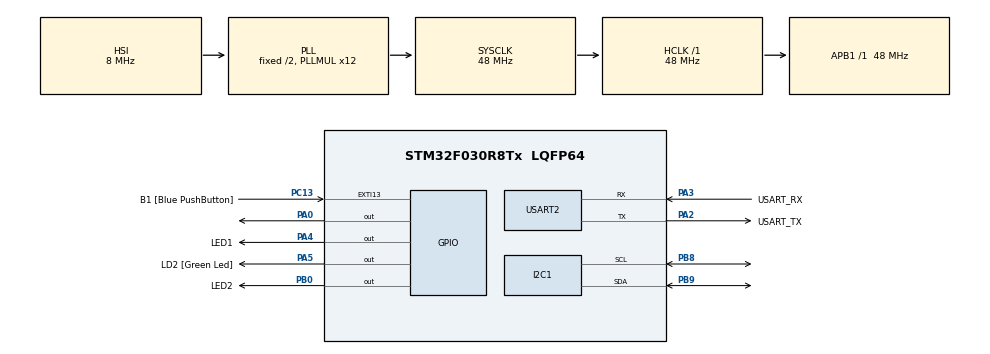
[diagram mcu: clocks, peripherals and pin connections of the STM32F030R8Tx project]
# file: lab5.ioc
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Dma.Request0=USART2_RX
Dma.USART2_RX.0.Direction=DMA_PERIPH_TO_MEMORY
Dma.USART2_RX.0.Instance=DMA1_Channel5
Dma.USART2_RX.0.MemDataAlignment=DMA_MDATAALIGN_BYTE
Dma.USART2_RX.0.MemInc=DMA_MINC_ENABLE
Dma.USART2_RX.0.Mode=DMA_CIRCULAR
Dma.USART2_RX.0.PeriphDataAlignment=DMA_PDATAALIGN_BYTE
Dma.USART2_RX.0.PeriphInc=DMA_PINC_DISABLE
Dma.USART2_RX.0.Priority=DMA_PRIORITY_LOW
Mcu.Family=STM32F0
Mcu.Name=STM32F030R8Tx
Mcu.Package=LQFP64
NVIC.DMA1_Channel4_5_IRQn=true\:0\:0\:false\:false\:true\:false\:true\:true
PA0.Signal=GPIO_Output
PA13.GPIO_Label=TMS
PA13.Mode=Serial_Wire
PA13.Signal=SYS_SWDIO
PA14.GPIO_Label=TCK
PA14.Mode=Serial_Wire
PA14.Signal=SYS_SWCLK
PA2.GPIO_Label=USART_TX
PA2.GPIO_Mode=GPIO_MODE_AF_PP
PA2.GPIO_PuPd=GPIO_NOPULL
PA2.GPIO_Speed=GPIO_SPEED_FREQ_LOW
PA2.Mode=Asynchronous
PA2.Signal=USART2_TX
PA3.GPIO_Label=USART_RX
PA3.GPIO_Mode=GPIO_MODE_AF_PP
PA3.GPIO_PuPd=GPIO_NOPULL
PA3.GPIO_Speed=GPIO_SPEED_FREQ_LOW
PA3.Mode=Asynchronous
PA3.Signal=USART2_RX
PA4.GPIO_Label=LED1
PA4.Signal=GPIO_Output
PA5.GPIO_Label=LD2 [Green Led]
PA5.GPIO_Mode=GPIO_MODE_OUTPUT_PP
PA5.GPIO_PuPd=GPIO_NOPULL
PA5.GPIO_Speed=GPIO_SPEED_FREQ_LOW
PA5.Signal=GPIO_Output
PB0.GPIO_Label=LED2
PB0.Signal=GPIO_Output
PB8.Mode=I2C
PB8.Signal=I2C1_SCL
PB9.Mode=I2C
PB9.Signal=I2C1_SDA
PC13.GPIO_Label=B1 [Blue PushButton]
PC13.GPIO_ModeDefaultEXTI=GPIO_MODE_IT_FALLING
PC13.Signal=GPXTI13
PC14-OSC32_IN.Mode=LSE-External-Oscillator
PC14-OSC32_IN.Signal=RCC_OSC32_IN
PC15-OSC32_OUT.Mode=LSE-External-Oscillator
PC15-OSC32_OUT.Signal=RCC_OSC32_OUT
PF0-OSC_IN.Mode=HSE-External-Clock-Source
PF0-OSC_IN.Signal=RCC_OSC_IN
PF1-OSC_OUT.Signal=RCC_OSC_OUT
ProjectManager.HeapSize=0x200
ProjectManager.StackSize=0x400
ProjectManager.TargetToolchain=STM32CubeIDE
RCC.AHBFreq_Value=48000000
RCC.APB1Freq_Value=48000000
RCC.APB1TimFreq_Value=48000000
RCC.HCLKFreq_Value=48000000
RCC.PLLMUL=RCC_PLL_MUL12
RCC.SYSCLKFreq_VALUE=48000000
RCC.SYSCLKSource=RCC_SYSCLKSOURCE_PLLCLK
USART2.VirtualMode-Asynchronous=VM_ASYNC
board=NUCLEO-F030R8

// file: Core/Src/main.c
/* USER CODE BEGIN Header */
/**
  ******************************************************************************
  * @file           : main.c
  * @brief          : Main program body
  ******************************************************************************
  * @attention
  *
  * Copyright (c) 2023 STMicroelectronics.
  * All rights reserved.
  *
  * This software is licensed under terms that can be found in the LICENSE file
  * in the root directory of this software component.
  * If no LICENSE file comes with this software, it is provided AS-IS.
  *
  ******************************************************************************
  */
/* USER CODE END Header */
#include "main.h"

/* USER CODE BEGIN Includes */
#include <stdio.h>
#include <string.h>
#include <stdlib.h>
/* USER CODE END Includes */

/* USER CODE BEGIN PD */
#define RX_BUFFER_LEN 64

#define uart_rx_write_ptr (RX_BUFFER_LEN - hdma_usart2_rx.Instance->CNDTR)
#define CMD_BUFFER_LEN 256
#define EEPROM_ADDR  0xA0
/* USER CODE END PD */

I2C_HandleTypeDef hi2c1;

UART_HandleTypeDef huart2;
DMA_HandleTypeDef hdma_usart2_rx;

/* USER CODE BEGIN PV */
static uint8_t uart_rx_buf[RX_BUFFER_LEN];
static volatile uint16_t uart_rx_read_ptr = 0;
/* USER CODE END PV */

void SystemClock_Config(void);
static void MX_GPIO_Init(void);
static void MX_DMA_Init(void);
static void MX_USART2_UART_Init(void);
static void MX_I2C1_Init(void);

/* USER CODE BEGIN 0 */
int _write(int file, char const *buf, int n)
{
	/* stdout redirection to UART2 */
	HAL_UART_Transmit(&huart2, (uint8_t*)(buf), n, HAL_MAX_DELAY);
	return n;
}

static void uart_process_command(char *cmd){
	printf("Byl zadan prikaz: '%s'\n", cmd);

	char *token;
	token = strtok(cmd, " ");
	if (strcasecmp(token, "HELLO") == 0) {
		printf("Komunikace OK\n");
	}
	else if (strcasecmp(token, "LED1") == 0) {
		token = strtok(NULL, " ");
		if (strcasecmp(token, "ON") == 0){
			HAL_GPIO_WritePin(LED1_GPIO_Port,LED1_Pin,1);
			printf("OK\n");
		}else if (strcasecmp(token, "OFF") == 0){
			HAL_GPIO_WritePin(LED1_GPIO_Port,LED1_Pin,0);
			printf("OK\n");
		}
	}
	else if (strcasecmp(token, "LED2") == 0) {
		token = strtok(NULL, " ");
		if (strcasecmp(token, "ON") == 0){
			HAL_GPIO_WritePin(LED2_GPIO_Port,LED2_Pin,1);
			printf("OK\n");
		}else if (strcasecmp(token, "OFF") == 0){
			HAL_GPIO_WritePin(LED2_GPIO_Port,LED2_Pin,0);
			printf("OK\n");
		}
	}
	else if (strcasecmp(token, "STATUS") == 0){
		uint8_t led1=HAL_GPIO_ReadPin(LED1_GPIO_Port,LED1_Pin);
		uint8_t led2=HAL_GPIO_ReadPin(LED2_GPIO_Port,LED2_Pin);
		printf("Stav led1: %d\n",led1);
		printf("Stav led2: %d\n",led2);
	}
	else if(strcasecmp(token, "READ") == 0){
		token = strtok(NULL, " ");
		uint16_t addr=atoi(token);
		uint8_t value;

		HAL_I2C_Mem_Read(&hi2c1, EEPROM_ADDR, addr, I2C_MEMADD_SIZE_16BIT, &value, 1, 1000);
		printf("Hodnota na adrese : 0x%02X je 0x%02X\n", addr, value);
	}
	else if(strcasecmp(token, "WRITE") == 0){
		token = strtok(NULL, " ");
		uint16_t addr=atoi(token);
		token = strtok(NULL, " ");
		uint8_t value=atoi(token);

		HAL_I2C_Mem_Write(&hi2c1, EEPROM_ADDR, addr, I2C_MEMADD_SIZE_16BIT, &value, 1, 1000);
		while (HAL_I2C_IsDeviceReady(&hi2c1, EEPROM_ADDR, 300, 1000) == HAL_TIMEOUT) {}
		HAL_I2C_Mem_Read(&hi2c1, EEPROM_ADDR, addr, I2C_MEMADD_SIZE_16BIT, &value, 1, 1000);
		printf("Hodnota na adrese : 0x%02X je 0x%02X\n", addr, value);

	}
	else if(strcasecmp(token, "DUMP") == 0){
		token = strtok(NULL, " ");
		uint8_t value = 0;
		for (uint8_t i = 0; i <= 0x000F; i++) {
			HAL_I2C_Mem_Read(&hi2c1, EEPROM_ADDR, i, I2C_MEMADD_SIZE_16BIT, &value, 1, 1000);
			printf("%02X ", value);
			if (i == (0x000F / 2)) printf("\n");
		}
		printf("\n");
	}
}

static void uart_byte_available(uint8_t c)
{
	static uint16_t cnt;
	static char data[CMD_BUFFER_LEN];
	if (cnt < CMD_BUFFER_LEN && c >= 32 && c <= 126) data[cnt++] = c;
	if ((c == '\n' || c == '\r') && cnt > 0) {
		data[cnt] = '\0';
		uart_process_command(data);
		cnt = 0;
	}
}
/* USER CODE END 0 */

int main(void)
{

  /* MCU Configuration--------------------------------------------------------*/

  /* Reset of all peripherals, Initializes the Flash interface and the Systick. */
  HAL_Init();

  /* Configure the system clock */
  SystemClock_Config();

  /* Initialize all configured peripherals */
  MX_GPIO_Init();
  MX_DMA_Init();
  MX_USART2_UART_Init();
  MX_I2C1_Init();
  /* USER CODE BEGIN 2 */
  HAL_UART_Receive_DMA(&huart2, uart_rx_buf, RX_BUFFER_LEN);
  /* USER CODE END 2 */

  /* Infinite loop */
  while (1)
  {

    /* USER CODE BEGIN 3 */
	while (uart_rx_read_ptr != uart_rx_write_ptr) {
	 uint8_t b = uart_rx_buf[uart_rx_read_ptr];
	 if (++uart_rx_read_ptr >= RX_BUFFER_LEN) uart_rx_read_ptr = 0; // increase read pointer
	 uart_byte_available(b); // process every received byte with the RX state machine
	}

  }
  /* USER CODE END 3 */
}

void SystemClock_Config(void)
{
  RCC_OscInitTypeDef RCC_OscInitStruct = {0};
  RCC_ClkInitTypeDef RCC_ClkInitStruct = {0};
  RCC_PeriphCLKInitTypeDef PeriphClkInit = {0};

  /** Initializes the RCC Oscillators according to the specified parameters
  * in the RCC_OscInitTypeDef structure.
  */
  RCC_OscInitStruct.OscillatorType = RCC_OSCILLATORTYPE_HSI;
  RCC_OscInitStruct.HSIState = RCC_HSI_ON;
  RCC_OscInitStruct.HSICalibrationValue = RCC_HSICALIBRATION_DEFAULT;
  RCC_OscInitStruct.PLL.PLLState = RCC_PLL_ON;
  RCC_OscInitStruct.PLL.PLLSource = RCC_PLLSOURCE_HSI;
  RCC_OscInitStruct.PLL.PLLMUL = RCC_PLL_MUL12;
  RCC_OscInitStruct.PLL.PREDIV = RCC_PREDIV_DIV1;
  if (HAL_RCC_OscConfig(&RCC_OscInitStruct) != HAL_OK)
  {
    Error_Handler();
  }

  /** Initializes the CPU, AHB and APB buses clocks
  */
  RCC_ClkInitStruct.ClockType = RCC_CLOCKTYPE_HCLK|RCC_CLOCKTYPE_SYSCLK
                              |RCC_CLOCKTYPE_PCLK1;
  RCC_ClkInitStruct.SYSCLKSource = RCC_SYSCLKSOURCE_PLLCLK;
  RCC_ClkInitStruct.AHBCLKDivider = RCC_SYSCLK_DIV1;
  RCC_ClkInitStruct.APB1CLKDivider = RCC_HCLK_DIV1;

  if (HAL_RCC_ClockConfig(&RCC_ClkInitStruct, FLASH_LATENCY_1) != HAL_OK)
  {
    Error_Handler();
  }
  PeriphClkInit.PeriphClockSelection = RCC_PERIPHCLK_I2C1;
  PeriphClkInit.I2c1ClockSelection = RCC_I2C1CLKSOURCE_HSI;
  if (HAL_RCCEx_PeriphCLKConfig(&PeriphClkInit) != HAL_OK)
  {
    Error_Handler();
  }
}

static void MX_I2C1_Init(void)
{

  hi2c1.Instance = I2C1;
  hi2c1.Init.Timing = 0x2000090E;
  hi2c1.Init.OwnAddress1 = 0;
  hi2c1.Init.AddressingMode = I2C_ADDRESSINGMODE_7BIT;
  hi2c1.Init.DualAddressMode = I2C_DUALADDRESS_DISABLE;
  hi2c1.Init.OwnAddress2 = 0;
  hi2c1.Init.OwnAddress2Masks = I2C_OA2_NOMASK;
  hi2c1.Init.GeneralCallMode = I2C_GENERALCALL_DISABLE;
  hi2c1.Init.NoStretchMode = I2C_NOSTRETCH_DISABLE;
  if (HAL_I2C_Init(&hi2c1) != HAL_OK)
  {
    Error_Handler();
  }

  /** Configure Analogue filter
  */
  if (HAL_I2CEx_ConfigAnalogFilter(&hi2c1, I2C_ANALOGFILTER_ENABLE) != HAL_OK)
  {
    Error_Handler();
  }

  /** Configure Digital filter
  */
  if (HAL_I2CEx_ConfigDigitalFilter(&hi2c1, 0) != HAL_OK)
  {
    Error_Handler();
  }

}

static void MX_USART2_UART_Init(void)
{

  huart2.Instance = USART2;
  huart2.Init.BaudRate = 38400;
  huart2.Init.WordLength = UART_WORDLENGTH_8B;
  huart2.Init.StopBits = UART_STOPBITS_1;
  huart2.Init.Parity = UART_PARITY_NONE;
  huart2.Init.Mode = UART_MODE_TX_RX;
  huart2.Init.HwFlowCtl = UART_HWCONTROL_NONE;
  huart2.Init.OverSampling = UART_OVERSAMPLING_16;
  huart2.Init.OneBitSampling = UART_ONE_BIT_SAMPLE_DISABLE;
  huart2.AdvancedInit.AdvFeatureInit = UART_ADVFEATURE_NO_INIT;
  if (HAL_UART_Init(&huart2) != HAL_OK)
  {
    Error_Handler();
  }

}

static void MX_DMA_Init(void)
{

  /* DMA controller clock enable */
  __HAL_RCC_DMA1_CLK_ENABLE();

  /* DMA interrupt init */
  /* DMA1_Channel4_5_IRQn interrupt configuration */
  HAL_NVIC_SetPriority(DMA1_Channel4_5_IRQn, 0, 0);
  HAL_NVIC_EnableIRQ(DMA1_Channel4_5_IRQn);

}

static void MX_GPIO_Init(void)
{
  GPIO_InitTypeDef GPIO_InitStruct = {0};

  /* GPIO Ports Clock Enable */
  __HAL_RCC_GPIOC_CLK_ENABLE();
  __HAL_RCC_GPIOF_CLK_ENABLE();
  __HAL_RCC_GPIOA_CLK_ENABLE();
  __HAL_RCC_GPIOB_CLK_ENABLE();

  /*Configure GPIO pin Output Level */
  HAL_GPIO_WritePin(GPIOA, GPIO_PIN_0|LED1_Pin|LD2_Pin, GPIO_PIN_RESET);

  /*Configure GPIO pin Output Level */
  HAL_GPIO_WritePin(LED2_GPIO_Port, LED2_Pin, GPIO_PIN_RESET);

  /*Configure GPIO pin : B1_Pin */
  GPIO_InitStruct.Pin = B1_Pin;
  GPIO_InitStruct.Mode = GPIO_MODE_IT_FALLING;
  GPIO_InitStruct.Pull = GPIO_NOPULL;
  HAL_GPIO_Init(B1_GPIO_Port, &GPIO_InitStruct);

  /*Configure GPIO pins : PA0 LED1_Pin LD2_Pin */
  GPIO_InitStruct.Pin = GPIO_PIN_0|LED1_Pin|LD2_Pin;
  GPIO_InitStruct.Mode = GPIO_MODE_OUTPUT_PP;
  GPIO_InitStruct.Pull = GPIO_NOPULL;
  GPIO_InitStruct.Speed = GPIO_SPEED_FREQ_LOW;
  HAL_GPIO_Init(GPIOA, &GPIO_InitStruct);

  /*Configure GPIO pin : LED2_Pin */
  GPIO_InitStruct.Pin = LED2_Pin;
  GPIO_InitStruct.Mode = GPIO_MODE_OUTPUT_PP;
  GPIO_InitStruct.Pull = GPIO_NOPULL;
  GPIO_InitStruct.Speed = GPIO_SPEED_FREQ_LOW;
  HAL_GPIO_Init(LED2_GPIO_Port, &GPIO_InitStruct);

}

void Error_Handler(void)
{
  __disable_irq();
  while (1)
  {
  }
}
